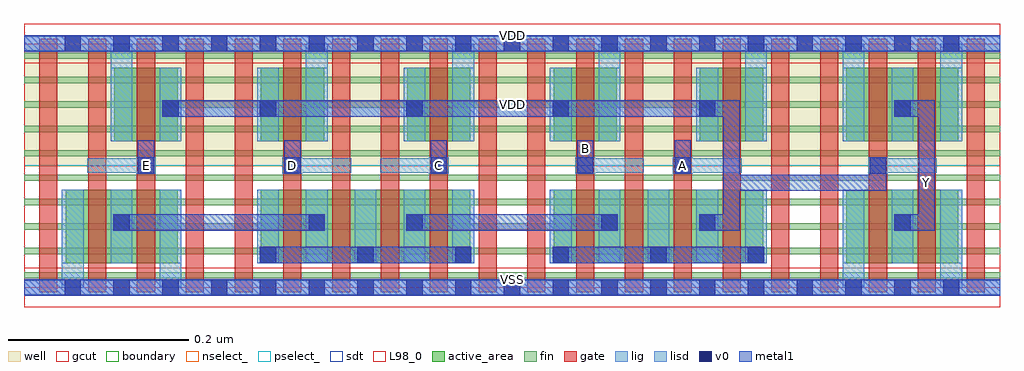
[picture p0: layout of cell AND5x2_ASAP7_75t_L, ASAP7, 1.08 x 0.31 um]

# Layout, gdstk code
import gdstk
lib = gdstk.Library(unit=1e-6, precision=2.5e-10)
def R(c, l, rs):  # rectangles x0, y0, x1, y1
    for r in rs: c.add(gdstk.rectangle(r[:2], r[2:], *l))
def A(c, l, x, y, w, h, nx, ny, dx, dy):  # array of equal rectangles
    R(c, l, [(x+i*dx, y+j*dy, x+i*dx+w, y+j*dy+h) for i in range(nx) for j in range(ny)])
def P(c, l, *ps):  # polygons
    for p in ps: c.add(gdstk.Polygon(p, *l))
well = (1, 0)
fin = (2, 0)
gate = (7, 0)
gcut = (10, 0)
active_area = (11, 0)
nselect_ = (12, 0)
pselect_ = (13, 0)
lig = (16, 0)
lisd = (17, 0)
v0 = (18, 0)
metal1 = (19, 0)
sdt = (88, 0)
L98_0 = (98, 0)
boundary = (100, 0)

and5x2_asap7_75t_l = lib.new_cell('AND5x2_ASAP7_75t_L')
R(and5x2_asap7_75t_l, well, [(0,0.135,1.08,0.27)])
A(and5x2_asap7_75t_l, fin, 0, 0.01, 1.08, 0.007, 1, 10, 0, 0.027)
A(and5x2_asap7_75t_l, gate, 0.017, -0.005, 0.02, 0.28, 20, 1, 0.054, 0)
R(and5x2_asap7_75t_l, gcut, [(0,-0.022,1.08,0.022), (0,0.248,1.08,0.292)])
A(and5x2_asap7_75t_l, active_area, 0.1, 0.162, 0.07, 0.081, 5, 1, 0.162, 0)
R(and5x2_asap7_75t_l, active_area, [(0.046,0.027,0.17,0.108), (0.262,0.027,0.494,0.108), (0.586,0.027,0.818,0.108), (0.91,0.027,1.034,0.108), (0.91,0.162,1.034,0.243)])
R(and5x2_asap7_75t_l, nselect_, [(0,0,1.08,0.135)])
R(and5x2_asap7_75t_l, pselect_, [(0,0.135,1.08,0.27)])
A(and5x2_asap7_75t_l, lig, 0.124, 0.126, 0.022, 0.018, 4, 1, 0.162, 0)
R(and5x2_asap7_75t_l, lig, [(0,-0.008,1.08,0.008), (0.718,0.126,0.74,0.144), (0.934,0.126,0.956,0.144), (0.07,0.127,0.146,0.143), (0.286,0.127,0.362,0.143), (0.394,0.127,0.47,0.143), (0.61,0.127,0.686,0.143), (0.718,0.127,0.794,0.143), (0.934,0.127,1.01,0.143), (0,0.262,1.08,0.278)])
A(and5x2_asap7_75t_l, lisd, 0.258, 0.027, 0.024, 0.081, 5, 1, 0.054, 0)
A(and5x2_asap7_75t_l, lisd, 0.582, 0.027, 0.024, 0.081, 5, 1, 0.054, 0)
A(and5x2_asap7_75t_l, lisd, 0.258, 0.162, 0.024, 0.081, 4, 1, 0.162, 0)
R(and5x2_asap7_75t_l, lisd, [(0.042,0,0.066,0.108), (0.042,0,0.066,0.108), (0.15,0,0.174,0.108), (0.15,0,0.174,0.108), (0.906,0,0.93,0.108), (0.906,0,0.93,0.108), (1.014,0,1.038,0.108), (1.014,0,1.038,0.108), (0.096,0.027,0.12,0.108), (0.96,0.027,0.984,0.108), (0.096,0.162,0.12,0.27), (0.096,0.162,0.12,0.27), (0.15,0.162,0.174,0.243), (0.312,0.162,0.336,0.27), (0.312,0.162,0.336,0.27), (0.474,0.162,0.498,0.27), (0.474,0.162,0.498,0.27), (0.636,0.162,0.66,0.27), (0.636,0.162,0.66,0.27), (0.798,0.162,0.822,0.27), (0.798,0.162,0.822,0.27), (0.906,0.162,0.93,0.27), (0.906,0.162,0.93,0.27), (0.96,0.162,0.984,0.243), (1.014,0.162,1.038,0.27), (1.014,0.162,1.038,0.27)])
A(and5x2_asap7_75t_l, v0, 0.045, -0.009, 0.018, 0.018, 19, 2, 0.054, 0.27)
A(and5x2_asap7_75t_l, v0, 0.261, 0.027, 0.018, 0.018, 6, 1, 0.108, 0)
A(and5x2_asap7_75t_l, v0, 0.126, 0.126, 0.018, 0.018, 4, 1, 0.162, 0)
A(and5x2_asap7_75t_l, v0, 0.261, 0.189, 0.018, 0.018, 4, 1, 0.162, 0)
R(and5x2_asap7_75t_l, v0, [(0.099,0.063,0.117,0.081), (0.315,0.063,0.333,0.081), (0.423,0.063,0.441,0.081), (0.639,0.063,0.657,0.081), (0.747,0.063,0.765,0.081), (0.963,0.063,0.981,0.081), (0.72,0.126,0.738,0.144), (0.936,0.126,0.954,0.144), (0.153,0.189,0.171,0.207), (0.963,0.189,0.981,0.207)])
A(and5x2_asap7_75t_l, metal1, 0.261, 0.027, 0.018, 0.018, 6, 1, 0.108, 0)
A(and5x2_asap7_75t_l, metal1, 0.126, 0.126, 0.018, 0.018, 4, 1, 0.162, 0)
A(and5x2_asap7_75t_l, metal1, 0.126, 0.126, 0.018, 0.037, 4, 1, 0.162, 0)
A(and5x2_asap7_75t_l, metal1, 0.261, 0.189, 0.018, 0.018, 4, 1, 0.162, 0)
R(and5x2_asap7_75t_l, metal1, [(0,-0.009,1.08,0.009), (0.261,0.027,0.495,0.045), (0.585,0.027,0.819,0.045), (0.099,0.063,0.117,0.081), (0.099,0.063,0.333,0.081), (0.315,0.063,0.333,0.081), (0.423,0.063,0.441,0.081), (0.423,0.063,0.657,0.081), (0.639,0.063,0.657,0.081), (0.747,0.063,0.765,0.081), (0.963,0.063,0.981,0.081), (0.72,0.126,0.738,0.144), (0.72,0.126,0.738,0.163), (0.936,0.126,0.954,0.144), (0.153,0.189,0.171,0.207), (0.963,0.189,0.981,0.207), (0,0.261,1.08,0.279)])
P(and5x2_asap7_75t_l, metal1, [(0.954,0.144),(0.936,0.144),(0.936,0.125),(0.792,0.125),(0.792,0.207),(0.153,0.207),(0.153,0.189),(0.774,0.189),(0.774,0.081),(0.747,0.081),(0.747,0.063),(0.792,0.063),(0.792,0.107),(0.954,0.107)],
  [(0.963,0.207),(0.963,0.189),(0.99,0.189),(0.99,0.081),(0.963,0.081),(0.963,0.063),(1.008,0.063),(1.008,0.207)])
A(and5x2_asap7_75t_l, sdt, 0.042, 0.027, 0.024, 0.081, 3, 1, 0.054, 0)
A(and5x2_asap7_75t_l, sdt, 0.258, 0.027, 0.024, 0.081, 5, 1, 0.054, 0)
A(and5x2_asap7_75t_l, sdt, 0.582, 0.027, 0.024, 0.081, 5, 1, 0.054, 0)
A(and5x2_asap7_75t_l, sdt, 0.906, 0.027, 0.024, 0.081, 3, 2, 0.054, 0.135)
R(and5x2_asap7_75t_l, sdt, [(0.042,0.027,0.066,0.108), (0.15,0.027,0.174,0.108), (0.906,0.027,0.93,0.108), (1.014,0.027,1.038,0.108), (0.096,0.162,0.12,0.243), (0.096,0.162,0.12,0.243), (0.15,0.162,0.174,0.243), (0.258,0.162,0.282,0.243), (0.312,0.162,0.336,0.243), (0.312,0.162,0.336,0.243), (0.42,0.162,0.444,0.243), (0.474,0.162,0.498,0.243), (0.474,0.162,0.498,0.243), (0.582,0.162,0.606,0.243), (0.636,0.162,0.66,0.243), (0.636,0.162,0.66,0.243), (0.744,0.162,0.768,0.243), (0.798,0.162,0.822,0.243), (0.798,0.162,0.822,0.243), (0.906,0.162,0.93,0.243), (1.014,0.162,1.038,0.243)])
R(and5x2_asap7_75t_l, L98_0, [(0,0,1.08,0.27)])
R(and5x2_asap7_75t_l, boundary, [(0,0,1.08,0.27)])
and5x2_asap7_75t_l.add(gdstk.Label('VDD', (0.54,0.2025), layer=1, texttype=251))
and5x2_asap7_75t_l.add(gdstk.Label('VSS', (0.54,-0.0675), layer=3, texttype=251))
and5x2_asap7_75t_l.add(gdstk.Label('VSS', (0.54,0.009), layer=19, texttype=251))
and5x2_asap7_75t_l.add(gdstk.Label('VDD', (0.54,0.279), layer=19, texttype=251))
and5x2_asap7_75t_l.add(gdstk.Label('E', (0.135,0.135), layer=19, texttype=251))
and5x2_asap7_75t_l.add(gdstk.Label('D', (0.297,0.135), layer=19, texttype=251))
and5x2_asap7_75t_l.add(gdstk.Label('C', (0.459,0.135), layer=19, texttype=251))
and5x2_asap7_75t_l.add(gdstk.Label('B', (0.621,0.154), layer=19, texttype=251))
and5x2_asap7_75t_l.add(gdstk.Label('A', (0.729,0.135), layer=19, texttype=251))
and5x2_asap7_75t_l.add(gdstk.Label('Y', (0.999,0.116), layer=19, texttype=251))

lib.write_gds('AND5x2_ASAP7_75t_L.gds')
